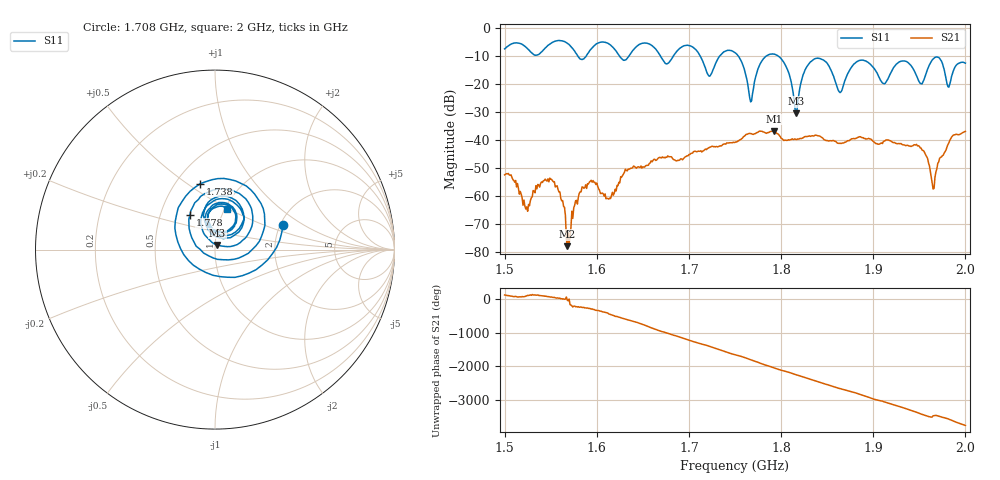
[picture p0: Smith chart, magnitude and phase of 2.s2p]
! NanoVNA-App by SYSJOINT et al v1.1.209 (+OD18)
! Date: 2026-01-21 14:19:37
! Start: 1,5GHz Stop: 2GHz Points: 501
! S-Parameter data: F S11 S21 S12 S22
# Hz S RI R 50
!  Frequency  S11_Real  S11_Imag  S21_Real  S21_Imag  S12_Real  S12_Imag  S22_Real  S22_Imag
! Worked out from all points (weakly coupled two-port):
!   501 points, 1.5 GHz to 2 GHz, reference 50 ohm
!   highest |S21| = -36.86 dB at 1.792 GHz (marker M1); lowest = -78.0 dB at 1.568 GHz (marker M2)
!   lowest |S11| = -30.5 dB at 1.816 GHz (marker M3), VSWR 1.06, Z = 51.3 + j2.71 ohm
!   |S11| at or under -10 dB: 1.712 GHz to 1.733 GHz (21.25 MHz wide, 1.23 % of centre); 1.753 GHz to 1.784 GHz (30.5 MHz wide, 1.72 % of centre); 1.797 GHz to end of sweep (the widest 3 of 6)
!   S12 and S22 are empty: the file has one direction only
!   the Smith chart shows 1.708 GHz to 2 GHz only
!   S11 on the Smith chart (normalised r, x): 1.708 GHz: 2.07, +0.67; 1.738 GHz: 0.66, +0.56; 1.778 GHz: 0.71, +0.29; 2 GHz: 1.02, +0.49
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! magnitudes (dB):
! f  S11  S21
! 1.5 GHz  -7.5  -52.5
! 1.524 GHz  -7.1  -64.0
! 1.552 GHz  -5.1  -54.6
! 1.568 GHz  -5.4  -78.0
! 1.584 GHz  -11.3  -56.8
! 1.667 GHz  -8.9  -46.4
! 1.708 GHz  -7.9  -44.2
! 1.722 GHz  -17.2  -42.7
! 1.738 GHz  -8.5  -41.5
! 1.75 GHz  -8.8  -40.9
! 1.767 GHz  -26.4  -37.8
! 1.778 GHz  -12.4  -36.9
! 1.792 GHz  -9.3  -36.9
! 1.816 GHz  -30.5  -39.8
! 1.834 GHz  -11.6  -38.5
! 1.864 GHz  -23.1  -41.2
! 1.885 GHz  -11.6  -38.9
! 1.917 GHz  -17.4  -40.1
! 1.951 GHz  -19.8  -42.9
! 1.965 GHz  -11.1  -57.6
! 1.982 GHz  -21.2  -41.1
! 2 GHz  -12.6  -36.9
